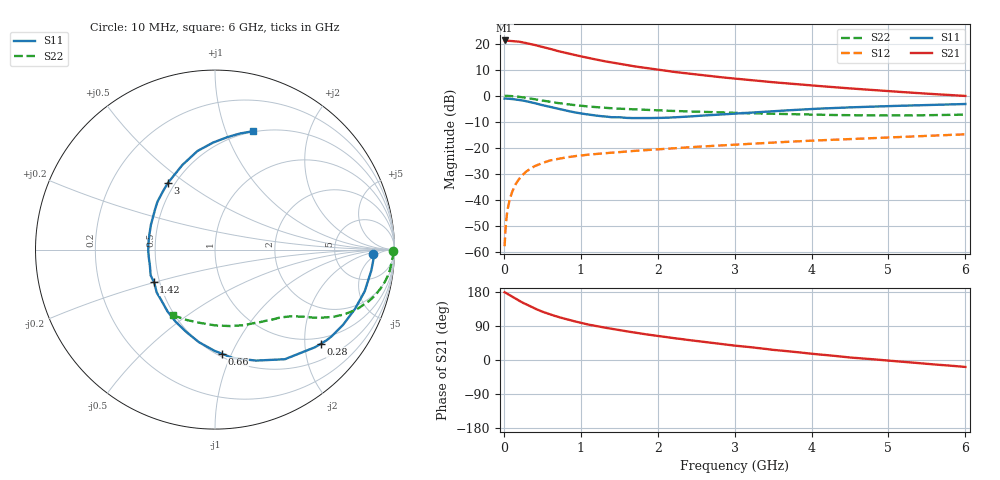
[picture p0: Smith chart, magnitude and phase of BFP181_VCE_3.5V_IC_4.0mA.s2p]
! Infineon Technologies  Discrete & RF Semiconductors
! BFP181
! VCE = 3.5 V,  IC =  4.0 mA
! Common Emitter S-Parameters:  Jan 2016
# GHz  S  MA  R  50
!  f  S11  S21  S12  S22
! GHz  MAG  ANG  MAG  ANG  MAG  ANG  MAG  ANG
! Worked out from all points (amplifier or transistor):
!   210 points, 10 MHz to 6 GHz, reference 50 ohm
!   highest |S21| = 21.2 dB at 10 MHz (marker M1)
!   |S21| within 3 dB of that: start of sweep to 571.8 MHz
!   unconditionally stable (mu >= 1): 1.885 GHz to end of sweep
!   at 185 MHz: K = 0.15, MSG = 26.6 dB, |S12| = -32.5 dB
!   at 1.52 GHz: K = 0.88, MSG = 16.9 dB, |S12| = -21.6 dB
!   at 6 GHz: K = 1.06, MAG = 5.8 dB, |S12| = -14.8 dB
!   S11 on the Smith chart (normalised r, x): 10 MHz: 15, -3; 280 MHz: 0.85, -2.36; 660 MHz: 0.52, -0.92; 1.42 GHz: 0.46, -0.20; 3 GHz: 0.46, +0.43; 6 GHz: 0.49, +1.25
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0.01  0.8793 -1.7  11.45 178.7  0.0013 78.7  0.9919 -0.6
0.035  0.881 -5.5  11.38 175.9  0.0046 89.5  0.9911 -2.4
0.08  0.869 -12.4  11.26 170.4  0.0106 82.9  0.9835 -5.4
0.2  0.8273 -30.5  10.84 156.3  0.0254 73.0  0.9492 -13.0
0.24  0.8101 -36.5  10.54 151.9  0.0297 70.3  0.9316 -15.4
0.28  0.789 -41.7  10.26 148.0  0.0338 67.3  0.9133 -17.5
0.4  0.7241 -57.5  9.4 136.0  0.0444 60.0  0.8567 -22.9
0.5  0.6589 -69.8  8.611 127.5  0.0509 54.5  0.808 -26.5
0.6  0.6118 -80.7  7.924 120.2  0.0572 50.4  0.7631 -29.3
0.66  0.5811 -86.3  7.468 116.6  0.0596 48.6  0.7393 -30.6
0.8  0.5234 -99.9  6.658 108.1  0.0649 45.2  0.6915 -33.2
1.02  0.4524 -120.3  5.597 97.1  0.0717 41.2  0.6361 -36.2
1.2  0.4137 -135.3  4.926 89.7  0.0759 38.7  0.6022 -38.3
1.42  0.3856 -152.3  4.284 81.7  0.0811 37.2  0.572 -40.6
1.76  0.3712 -176.1  3.543 70.5  0.0887 35.4  0.5397 -44.1
2.02  0.3746 168.1  3.113 63.0  0.0941 34.3  0.5202 -47.0
2.42  0.3993 147.6  2.63 52.3  0.1028 32.8  0.4969 -52.3
3  0.4544 125.4  2.128 38.0  0.1151 30.4  0.467 -60.7
3.1  0.4621 122.3  2.059 36.0  0.1173 29.9  0.4629 -62.4
4.1  0.5645 98.2  1.531 14.7  0.139 25.0  0.4306 -81.0
5.1  0.6366 82.4  1.193 -3.3  0.1595 19.9  0.4166 -102.5
6  0.6921 72.3  0.988 -18.3  0.1815 14.5  0.4342 -122.6
